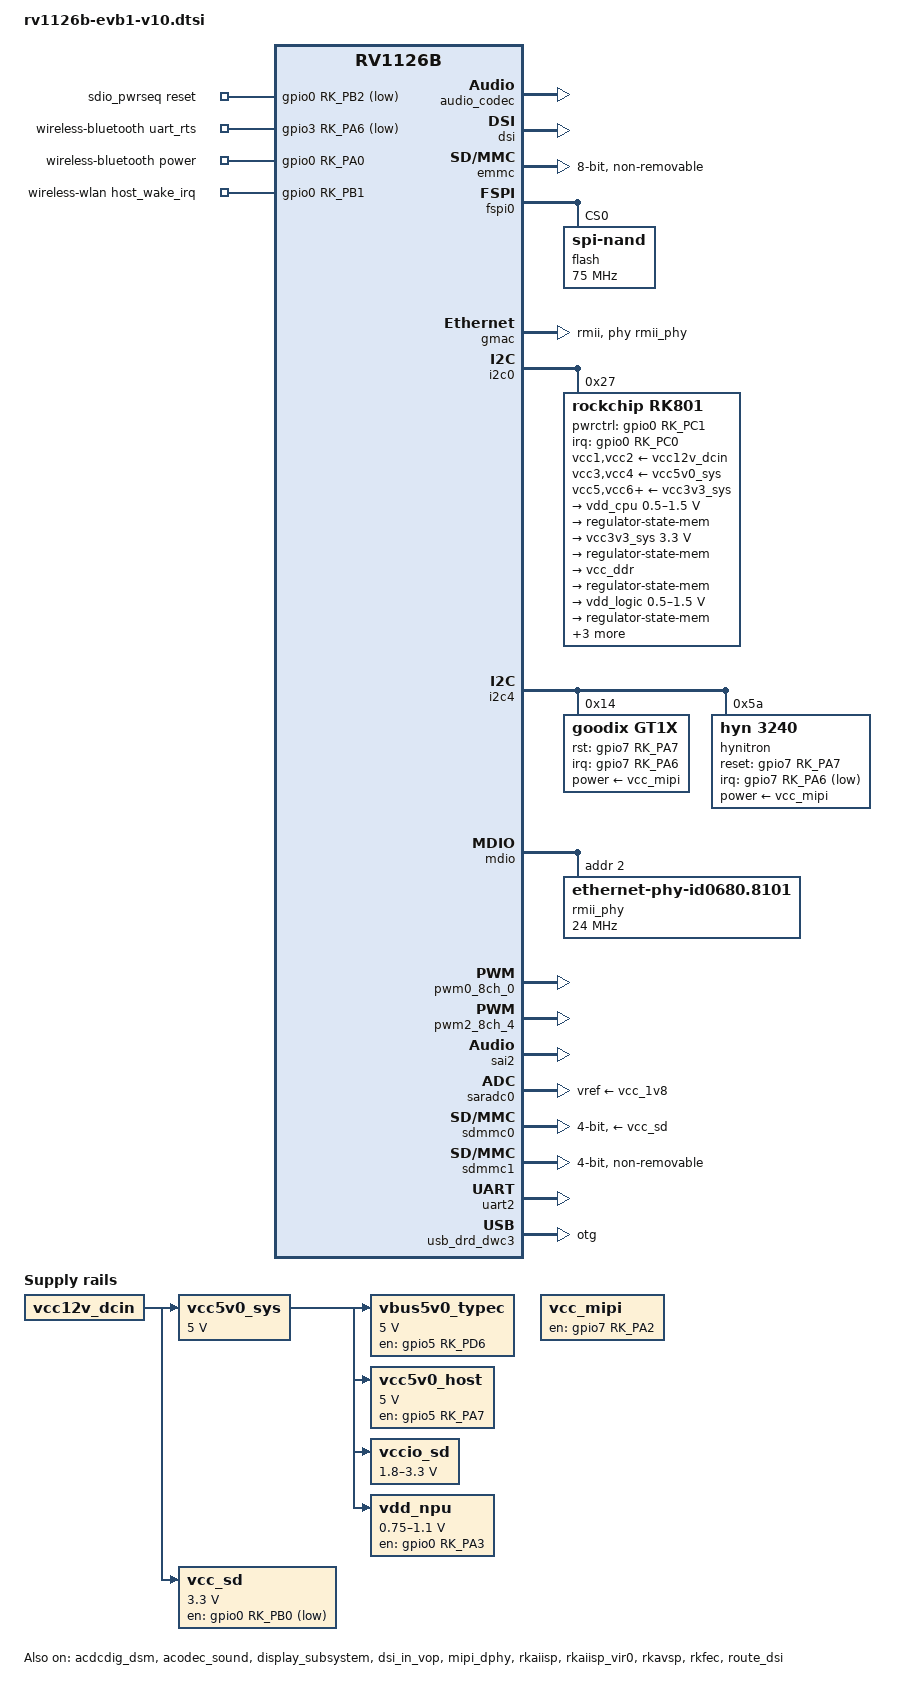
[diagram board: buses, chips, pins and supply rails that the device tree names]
// SPDX-License-Identifier: (GPL-2.0+ OR MIT)
/*
 * Copyright (c) 2025 Rockchip Electronics Co., Ltd.
 *
 */

/ {
	sdio_pwrseq: sdio-pwrseq {
		compatible = "mmc-pwrseq-simple";
		pinctrl-names = "default";
		pinctrl-0 = <&wifi_enable_h &rtc_32k_pins>;

		//32.768k
		clocks = <&xin32k>;
		clock-names = "ext_clock";

		/*
		 * On the module itself this is one of these (depending
		 * on the actual card populated):
		 * - SDIO_RESET_L_WL_REG_ON
		 * - PDN (power down when low)
		 */
		reset-gpios = <&gpio0 RK_PB2 GPIO_ACTIVE_LOW>;
	};

	vcc5v0_sys: vcc5v0-sys {
		compatible = "regulator-fixed";
		regulator-name = "vcc5v0_sys";
		regulator-always-on;
		regulator-boot-on;
		regulator-min-microvolt = <5000000>;
		regulator-max-microvolt = <5000000>;
		vin-supply = <&vcc12v_dcin>;
		status = "okay";
	};

	vbus5v0_typec: vbus5v0-typec {
		compatible = "regulator-fixed";
		regulator-name = "vbus5v0_typec";
		regulator-min-microvolt = <5000000>;
		regulator-max-microvolt = <5000000>;
		enable-active-high;
		gpio = <&gpio5 RK_PD6 GPIO_ACTIVE_HIGH>;
		vin-supply = <&vcc5v0_sys>;
		pinctrl-names = "default";
		pinctrl-0 = <&typec5v_pwren>;
	};

	vcc5v0_host: vcc5v0-host {
		compatible = "regulator-fixed";
		regulator-name = "vcc5v0_host";
		regulator-boot-on;
		regulator-always-on;
		regulator-min-microvolt = <5000000>;
		regulator-max-microvolt = <5000000>;
		enable-active-high;
		gpio = <&gpio5 RK_PA7 GPIO_ACTIVE_HIGH>;
		vin-supply = <&vcc5v0_sys>;
		pinctrl-names = "default";
		pinctrl-0 = <&vcc5v0_host_en>;
	};

	vcc_mipi: vcc-mipi {
		compatible = "regulator-fixed";
		regulator-name = "vcc_mipi";
		gpio = <&gpio7 RK_PA2 GPIO_ACTIVE_HIGH>;
		enable-active-high;
		regulator-boot-on;
	};

	vcc_sd: vcc-sd {
		compatible = "regulator-fixed";
		gpio = <&gpio0 RK_PB0 GPIO_ACTIVE_LOW>;
		regulator-name = "vcc_sd";
		regulator-min-microvolt = <3300000>;
		regulator-max-microvolt = <3300000>;
		enable-active-low;
		regulator-boot-on;	// The legacy U-Boot GPIO driver needs this to set correct SDMMC0_PWREN value
		vin-supply = <&vcc12v_dcin>;
	};

	vccio_sd: vccio-sd {
		compatible = "regulator-gpio";
		regulator-boot-on;
		regulator-name = "vccio_sd";
		regulator-min-microvolt = <1800000>;
		regulator-max-microvolt = <3300000>;
		pinctrl-names = "default";
		pinctrl-0 = <&sdmmc_volt>;
		gpios = <&gpio0 RK_PA6 GPIO_ACTIVE_HIGH>;
		vin-supply = <&vcc5v0_sys>;
		states = <1800000 0x0
			  3300000 0x1>;
	};

	vdd_npu: vdd-npu {
		compatible = "pwm-regulator";
		pwms = <&pwm0_8ch_0 0 25000 1>;
		regulator-name = "vdd_npu";
		regulator-init-microvolt = <950000>;
		regulator-min-microvolt = <750000>;
		regulator-max-microvolt = <1100000>;
		regulator-settling-time-up-us = <250>;
		regulator-always-on;
		regulator-boot-on;
		enable-gpios = <&gpio0 RK_PA3 GPIO_ACTIVE_HIGH>;
		pwm-supply = <&vcc5v0_sys>;
	};

	wireless-bluetooth {
		compatible = "bluetooth-platdata";
		uart_rts_gpios = <&gpio3 RK_PA6 GPIO_ACTIVE_LOW>;
		pinctrl-names = "default", "rts_gpio";
		pinctrl-0 = <&uart2m0_rtsn_pins>;
		pinctrl-1 = <&uart2_gpios>;
		BT,power_gpio = <&gpio0 RK_PA0 GPIO_ACTIVE_HIGH>;
		status = "okay";
	};

	wireless-wlan {
		compatible = "wlan-platdata";
		rockchip,grf = <&grf>;
		pinctrl-names = "default";
		pinctrl-0 = <&wifi_wake_host>;
		wifi_chip_type = "rk96x";
		WIFI,host_wake_irq = <&gpio0 RK_PB1 GPIO_ACTIVE_HIGH>;
		status = "okay";
	};
};

&acdcdig_dsm {
	status = "okay";
	pa-ctl-gpios = <&gpio0 RK_PA4 GPIO_ACTIVE_HIGH>;
};

&acodec_sound {
	status = "okay";
};

&audio_codec_pmu {
	status = "okay";
};

&audio_codec {
	status = "okay";
};

&backlight {
	pwms = <&pwm2_8ch_4 0 25000 0>;
};

&cpu0 {
	cpu-supply = <&vdd_cpu>;
};

&display_subsystem {
	status = "okay";
};

&dsi {
	status = "okay";
};

&dsi_in_vop {
	status = "okay";
};

&dsi_panel {
	power-supply = <&vcc_mipi>;
};

&emmc {
	bus-width = <8>;
	cap-mmc-highspeed;
	non-removable;
	mmc-hs200-1_8v;
	rockchip,default-sample-phase = <90>;
	no-sdio;
	no-sd;
	status = "okay";
};

&fspi0 {
	status = "okay";

	flash@0 {
		compatible = "spi-nand";
		reg = <0>;
		spi-max-frequency = <75000000>;
		spi-rx-bus-width = <4>;
		spi-tx-bus-width = <1>;
	};
};

&gmac {
	phy-mode = "rmii";
	clock_in_out = "input";
	phy-handle = <&rmii_phy>;
	status = "okay";
};

&i2c0 {
	status = "okay";

	rk801: rk801@27 {
		compatible = "rockchip,rk801";
		status = "okay";
		reg = <0x27>;
		interrupt-parent = <&gpio0>;
		interrupts = <RK_PC0 IRQ_TYPE_LEVEL_LOW>;
		pwrctrl-gpios = <&gpio0 RK_PC1 GPIO_ACTIVE_HIGH>;

		pinctrl-names = "default", "pmic-reset";
		pinctrl-0 = <&pmic_int>;
		pinctrl-1 = <&soc_pwrctrl_reset>;
		rockchip,system-power-controller;
		wakeup-source;

		vcc1-supply = <&vcc12v_dcin>;
		vcc2-supply = <&vcc12v_dcin>;
		vcc3-supply = <&vcc5v0_sys>;
		vcc4-supply = <&vcc5v0_sys>;
		vcc5-supply = <&vcc3v3_sys>;
		vcc6-supply = <&vcc3v3_sys>;
		vcc7-supply = <&vcc3v3_sys>;

		regulators {
			vdd_cpu: DCDC_REG1 {
				regulator-name = "vdd_cpu";
				regulator-min-microvolt = <500000>;
				regulator-max-microvolt = <1500000>;
				regulator-initial-mode = <0x1>;
				regulator-boot-on;
				regulator-always-on;
				regulator-state-mem {
					regulator-mode = <0x2>;
					regulator-off-in-suspend;
					regulator-suspend-microvolt = <950000>;
				};
			};

			vcc3v3_sys: DCDC_REG2 {
				regulator-name = "vcc3v3_sys";
				regulator-min-microvolt = <3300000>;
				regulator-max-microvolt = <3300000>;
				regulator-initial-mode = <0x1>;
				regulator-boot-on;
				regulator-always-on;
				regulator-state-mem {
					regulator-mode = <0x2>;
					regulator-on-in-suspend;
					regulator-suspend-microvolt = <3300000>;
				};
			};

			vcc_ddr: DCDC_REG3 {
				regulator-name = "vcc_ddr";
				regulator-boot-on;
				regulator-always-on;
				regulator-state-mem {
					regulator-mode = <0x2>;
					regulator-on-in-suspend;
				};
			};

			vdd_logic: DCDC_REG4 {
				regulator-name = "vdd_logic";
				regulator-min-microvolt = <500000>;
				regulator-max-microvolt = <1500000>;
				regulator-initial-mode = <0x1>;
				regulator-boot-on;
				regulator-always-on;
				regulator-state-mem {
					regulator-mode = <0x2>;
					regulator-off-in-suspend;
					regulator-suspend-microvolt = <900000>;
				};
			};

			vdd0v9_sys: LDO_REG1 {
				regulator-name = "vdd0v9_sys";
				regulator-min-microvolt = <900000>;
				regulator-max-microvolt = <900000>;
				regulator-boot-on;
				regulator-always-on;
				regulator-state-mem {
					regulator-off-in-suspend;
					regulator-suspend-microvolt = <900000>;
				};
			};

			vcc_1v8: LDO_REG2 {
				regulator-name = "vcc_1v8";
				regulator-min-microvolt = <1800000>;
				regulator-max-microvolt = <1800000>;
				regulator-boot-on;
				regulator-always-on;
				regulator-state-mem {
					regulator-off-in-suspend;
					regulator-suspend-microvolt = <1800000>;
				};
			};

			vcc_3v3: SWITCH_REG {
				regulator-name = "vcc_3v3";
				regulator-boot-on;
				regulator-always-on;
				regulator-state-mem {
					regulator-off-in-suspend;
					regulator-suspend-microvolt = <3300000>;
				};
			};
		};
	};
};

&i2c4 {
	status = "okay";
	pinctrl-names = "default";
	pinctrl-0 = <&i2c4m3_pins>;

	gt1x: gt1x@14 {
		compatible = "goodix,gt1x";
		reg = <0x14>;
		pinctrl-names = "default";
		pinctrl-0 = <&touch_gpio>;
		power-supply = <&vcc_mipi>;
		goodix,rst-gpio = <&gpio7 RK_PA7 GPIO_ACTIVE_HIGH>;
		goodix,irq-gpio = <&gpio7 RK_PA6 IRQ_TYPE_LEVEL_LOW>;
	};

	hynitron: hynitron@5a {
		compatible = "hyn,3240";
		reg = <0x5a>;
		power-supply = <&vcc_mipi>;

		pinctrl-names = "ts_active","ts_suspend";
		pinctrl-0 = <&ts_int_active &ts_reset_active>;
		pinctrl-1 = <&ts_int_suspend &ts_reset_suspend>;

		reset-gpios = <&gpio7 RK_PA7 GPIO_ACTIVE_HIGH>;
		irq-gpios = <&gpio7 RK_PA6 GPIO_ACTIVE_LOW>;

		max-touch-number = <5>;
		display-coords = <0 0 1080 1920>;
		pos-swap = <0>;
		posx-reverse = <0>;
		posy-reverse = <0>;
	};
};

&mdio {
	rmii_phy: ethernet-phy@2 {
		compatible = "ethernet-phy-id0680.8101", "ethernet-phy-ieee802.3-c22";
		reg = <2>;
		clocks = <&cru CLK_MACPHY>;
		clock-frequency = <24000000>;
		resets = <&cru SRST_RESETN_MACPHY>;
		pinctrl-names = "default";
		pinctrl-0 = <&fephym1_pins>;
		phy-is-integrated;
	};
};

&mipi_dphy {
	status = "okay";
};

&pinctrl {
	pmic {
		pmic_int: pmic-int {
			rockchip,pins = <0 RK_PC0 RK_FUNC_GPIO &pcfg_pull_up>;
		};

		soc_pwrctrl_reset: soc-pwrctrl-reset {
			rockchip,pins = <0 RK_PC1 RK_FUNC_GPIO &pcfg_output_high>;
		};
	};

	sdio-pwrseq {
		wifi_enable_h: wifi-enable-h {
			rockchip,pins = <0 RK_PB2 RK_FUNC_GPIO &pcfg_pull_none>;
		};
	};

	sdmmc {
		/omit-if-no-ref/
		sdmmc_volt: sdmmc-volt {
			rockchip,pins = <0 RK_PA6 RK_FUNC_GPIO &pcfg_pull_none>;
		};
	};

	touch {
		touch_gpio: touch-gpio {
			rockchip,pins =
				<7 RK_PA6 RK_FUNC_GPIO &pcfg_pull_up>,
				<7 RK_PA7 RK_FUNC_GPIO &pcfg_pull_up>;
		};

		ts_int_active: ts_int_active {
			rockchip,pins = <7 RK_PA6 RK_FUNC_GPIO &pcfg_pull_up>;
		};

		ts_reset_active: ts_reset_active {
			rockchip,pins = <7 RK_PA7 RK_FUNC_GPIO &pcfg_pull_up>;
		};

		ts_int_suspend: ts_int_suspend {
			rockchip,pins = <7 RK_PA6 RK_FUNC_GPIO &pcfg_pull_down>;
		};

		ts_reset_suspend: ts_reset_suspend {
			rockchip,pins = <7 RK_PA7 RK_FUNC_GPIO &pcfg_pull_down>;
		};
	};

	usb {
		typec5v_pwren: typec5v-pwren {
			rockchip,pins = <5 RK_PD6 RK_FUNC_GPIO &pcfg_pull_none>;
		};

		vcc5v0_host_en: vcc5v0-host-en {
			rockchip,pins = <5 RK_PA7 RK_FUNC_GPIO &pcfg_pull_none>;
		};
	};

	wireless-bluetooth {
		uart2_gpios: uart2-gpios {
			rockchip,pins = <3 RK_PA6 RK_FUNC_GPIO &pcfg_pull_none>;
		};
	};

	wireless-wlan {
		wifi_wake_host: wifi-wake-host {
			rockchip,pins = <0 RK_PB1 RK_FUNC_GPIO &pcfg_pull_up>;
		};
	};
};

&pwm0_8ch_0 {
	status = "okay";
};

&pwm2_8ch_4 {
	pinctrl-0 = <&pwm2m1_ch4_pins>;
	status = "okay";
};

&rkaiisp {
	status = "okay";
};

&rkaiisp_mmu {
	status = "okay";
};

&rkaiisp_vir0 {
	status = "okay";
};

&rkavsp {
	status = "okay";
};

&rkavsp_mmu {
	status = "okay";
};

&rkfec {
	status = "okay";
};

&rkfec_mmu {
	status = "okay";
};

&rknpu {
	rknpu-supply = <&vdd_npu>;
};

&rkvenc {
	venc-supply = <&vdd_logic>;
};

&route_dsi {
	status = "okay";
};

&sai2 {
	status = "okay";
	/delete-property/ pinctrl-names;
	/delete-property/ pinctrl-0;
};

&saradc0 {
	vref-supply = <&vcc_1v8>;
};

&sdmmc0 {
	max-frequency = <200000000>;
	no-sdio;
	no-mmc;
	bus-width = <4>;
	cap-mmc-highspeed;
	cap-sd-highspeed;
	disable-wp;
	sd-uhs-sdr104;
	vmmc-supply = <&vcc_sd>;
	vqmmc-supply = <&vccio_sd>;
	status = "okay";
};

&sdmmc1 {
	bus-width = <4>;
	cap-sd-highspeed;
	no-sd;
	no-mmc;
	max-frequency = <200000000>;
	pinctrl-names = "default";
	pinctrl-0 = <&sdmmc1_clk_pins &sdmmc1_cmd_pins &sdmmc1_bus4_pins>;
	keep-power-in-suspend;
	non-removable;
	mmc-pwrseq = <&sdio_pwrseq>;
	//sd-uhs-sdr104;
	status = "okay";
};

&uart2 {
	status = "okay";
	pinctrl-names = "default";
	pinctrl-0 = <&uart2m0_xfer_pins &uart2m0_ctsn_pins>;
};

&usb2phy_host {
	phy-supply = <&vcc5v0_host>;
};

&usb2phy_otg {
	vbus-supply = <&vbus5v0_typec>;
};

&usb_drd_dwc3 {
	dr_mode = "otg";
	extcon = <&usb2phy>;
};
